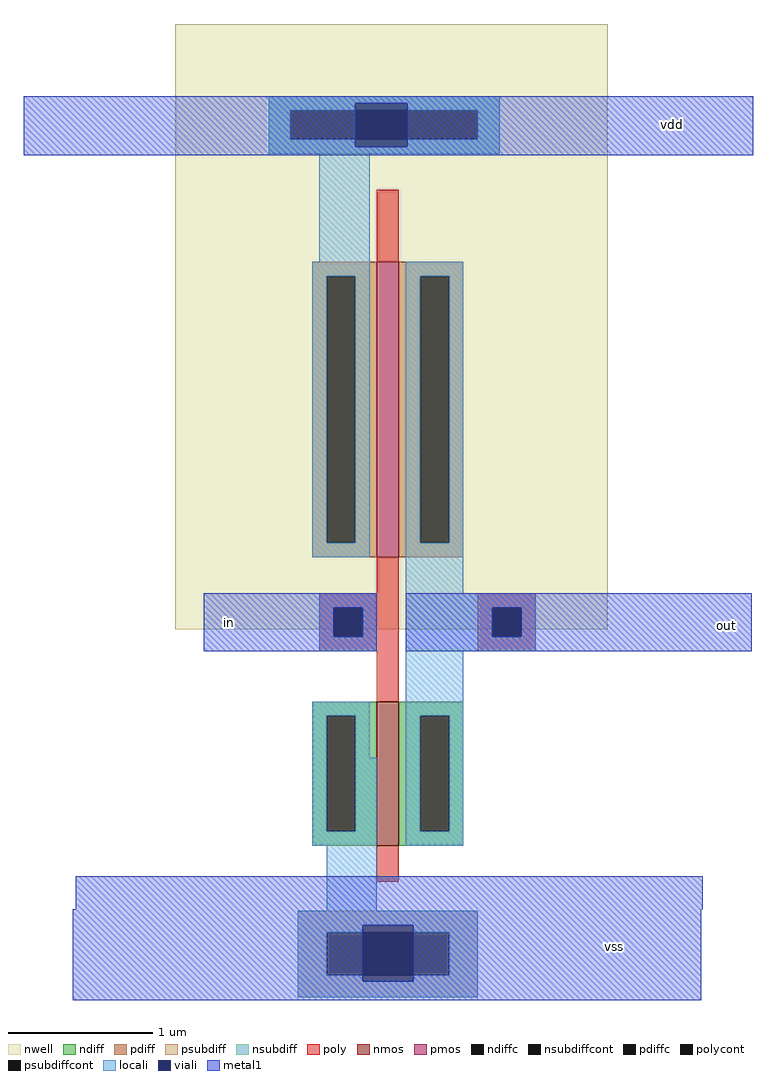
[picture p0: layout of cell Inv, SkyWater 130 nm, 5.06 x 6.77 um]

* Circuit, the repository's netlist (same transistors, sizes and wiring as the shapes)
* NGSPICE file created from Inv.ext - technology: sky130A
.lib "/home/shaaru/pdk/sky130A/libs.tech/ngspice/sky130.lib.spice tt"

.subckt Inv in out vdd vss
X0 out in vss vss sky130_fd_pr__nfet_01v8 ad=0.45 pd=2.9 as=0.45 ps=2.9 w=1 l=0.15
X1 out in vdd vdd sky130_fd_pr__pfet_01v8 ad=0.9225 pd=5 as=0.9225 ps=5 w=2.05 l=0.15
.ends Inv

Xinv in out vdd vss Inv

Vdd vdd 0 1.8
Vss vss 0 0

Vin in 0 PULSE(0 1.8 0 1n 1n 10n 20n)

.tran 0.1n 100n

.control
run 
plot v(in) v(out)
.endc

.end

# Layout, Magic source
magic
tech sky130A
<< nwell >>
rect 0 350 300 770
<< nmos >>
rect 140 200 155 300
<< pmos >>
rect 140 400 155 605
<< ndiff >>
rect 95 290 140 300
rect 95 210 105 290
rect 125 210 140 290
rect 95 200 140 210
rect 155 290 200 300
rect 155 210 170 290
rect 190 210 200 290
rect 155 200 200 210
<< pdiff >>
rect 95 595 140 605
rect 95 410 105 595
rect 125 410 140 595
rect 95 400 140 410
rect 155 595 200 605
rect 155 410 170 595
rect 190 410 200 595
rect 155 400 200 410
<< ndiffc >>
rect 105 210 125 290
rect 170 210 190 290
<< pdiffc >>
rect 105 410 125 595
rect 170 410 190 595
<< psubdiff >>
rect 85 140 210 155
rect 85 110 105 140
rect 190 110 210 140
rect 85 95 210 110
<< nsubdiff >>
rect 65 710 225 720
rect 65 690 80 710
rect 210 690 225 710
rect 65 680 225 690
<< psubdiffcont >>
rect 105 110 190 140
<< nsubdiffcont >>
rect 80 690 210 710
<< poly >>
rect 140 605 155 655
rect 140 375 155 400
rect 100 365 155 375
rect 100 345 110 365
rect 130 345 155 365
rect 100 335 155 345
rect 210 365 250 375
rect 210 345 220 365
rect 240 345 250 365
rect 210 335 250 345
rect 140 300 155 335
rect 140 175 155 200
<< polycont >>
rect 110 345 130 365
rect 220 345 240 365
<< locali >>
rect 65 715 225 720
rect 65 710 125 715
rect 161 710 225 715
rect 65 690 80 710
rect 210 690 225 710
rect 65 685 125 690
rect 161 685 225 690
rect 65 680 225 685
rect 100 605 135 680
rect 95 595 135 605
rect 95 410 105 595
rect 125 410 135 595
rect 95 400 135 410
rect 160 595 200 605
rect 160 410 170 595
rect 190 410 200 595
rect 160 375 200 410
rect 100 365 140 375
rect 100 345 110 365
rect 130 345 140 365
rect 100 335 140 345
rect 160 365 250 375
rect 160 345 220 365
rect 240 345 250 365
rect 160 335 250 345
rect 95 290 135 300
rect 95 210 105 290
rect 125 261 135 290
rect 160 290 200 335
rect 125 210 140 261
rect 95 200 140 210
rect 160 210 170 290
rect 190 210 200 290
rect 160 200 200 210
rect 105 155 140 200
rect 85 145 210 155
rect 85 140 130 145
rect 165 140 210 145
rect 85 110 105 140
rect 190 110 210 140
rect 85 106 130 110
rect 165 106 210 110
rect 85 95 210 106
<< viali >>
rect 125 710 161 715
rect 125 690 161 710
rect 125 685 161 690
rect 110 345 130 365
rect 220 345 240 365
rect 130 140 165 145
rect 130 110 165 140
rect 130 106 165 110
<< metal1 >>
rect -105 715 401 720
rect -105 685 125 715
rect 161 685 401 715
rect -105 679 401 685
rect 20 365 140 375
rect 20 345 110 365
rect 130 345 140 365
rect 20 335 140 345
rect 160 365 400 375
rect 160 345 220 365
rect 240 345 400 365
rect 160 335 400 345
rect -69 156 366 179
rect -71 145 365 156
rect -71 106 130 145
rect 165 106 365 145
rect -71 93 365 106
<< labels >>
rlabel metal1 345 700 345 700 1 vdd
rlabel metal1 305 130 305 130 1 vss
rlabel metal1 375 340 390 365 1 out
rlabel metal1 30 345 45 365 1 in
<< end >>
